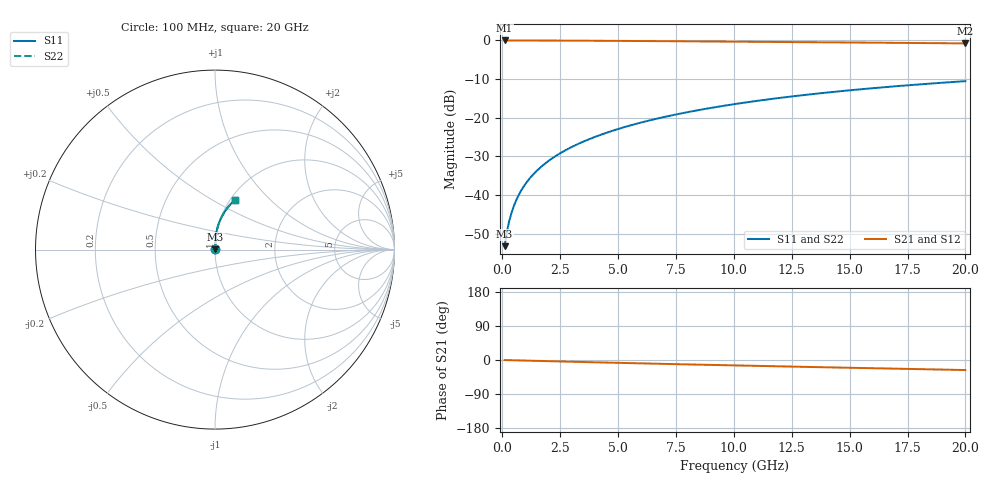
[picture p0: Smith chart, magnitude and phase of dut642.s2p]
! Touchstone file exported from HFSS 2024.1.0
!  File:  C:/UserFiles/LocalFiles/RDL_TSV_Batchsim/temp_RDL_bottom_642_1779784960.aedt
!  Generated:  04:45:09 PM May 26, 2026
!  Design:  RDL_bottom
!  Project:  temp_RDL_bottom_642_1779784960
!  Setup:  Setup1
!  Solution:  Sweep
! Variables:
!  dtsv = 10.80580581um
!  hbump = 3um
!  htsv = 51.59um
!  ldown = 324.64um
!  lrdl = 100um
!  p = 40
!  p1 = 57.57um
!  rhole = 1um
!  t = 450um
!  tdown = 3.78um
!  trdl = 3.915915916um
!  wdown = 21.25um
!  wrdl = 20um
# GHz S MA R 50.000000
! Terminal data exported
! Port[1] = RDL1_T1
! Port[2] = RDL1_T2
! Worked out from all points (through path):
!   200 points, 100 MHz to 20 GHz, reference 50 ohm
!   highest |S21| = -0.01 dB at 100 MHz (marker M1); lowest = -0.8 dB at 20 GHz (marker M2)
!   group delay of S21, straight-line fit = 3.64 ps
!   lowest |S11| = -53.2 dB at 100 MHz (marker M3), VSWR 1.00, Z = 50.2 + j0.147 ohm
!   |S11| at or under -10 dB: start of sweep to end of sweep
!   |S22| runs from -53.2 to -10.5 dB; largest |S21 - S12| = 3.9e-15
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0.1  0.002187 42.1  0.9984 -0.2  0.9984 -0.2  0.002187 42.1
! Gamma 0 0 0 0
! Port Impedance 50 0 50 0
0.2  0.003352 59.7  0.9983 -0.3  0.9983 -0.3  0.003352 59.7
0.3  0.00463 67.7  0.9982 -0.5  0.9982 -0.5  0.00463 67.7
0.4  0.005933 72.2  0.9981 -0.6  0.9981 -0.6  0.005933 72.2
0.5  0.007247 75.2  0.998 -0.8  0.998 -0.8  0.007247 75.2
0.6  0.008571 77.4  0.9979 -0.9  0.9979 -0.9  0.008571 77.4
0.8  0.01124 80.2  0.9977 -1.3  0.9977 -1.3  0.01124 80.2
1.1  0.0153 82.7  0.9973 -1.7  0.9973 -1.7  0.0153 82.7
1.5  0.02078 84.5  0.9967 -2.3  0.9967 -2.3  0.02078 84.5
1.8  0.02494 85.4  0.9962 -2.8  0.9962 -2.8  0.02494 85.4
2.1  0.02912 85.9  0.9955 -3.3  0.9955 -3.3  0.02912 85.9
2.7  0.03761 86.6  0.994 -4.2  0.994 -4.2  0.03761 86.6
3.5  0.04917 86.9  0.9916 -5.4  0.9916 -5.4  0.04917 86.9
4.2  0.0595 86.9  0.9891 -6.4  0.9891 -6.4  0.0595 86.9
5  0.07153 86.6  0.986 -7.5  0.986 -7.5  0.07153 86.6
5.9  0.08532 86.0  0.9823 -8.8  0.9823 -8.8  0.08532 86.0
6.8  0.09931 85.2  0.9784 -10.0  0.9784 -10.0  0.09931 85.2
8.4  0.1245 83.5  0.9712 -12.2  0.9712 -12.2  0.1245 83.5
10.1  0.1512 81.4  0.9635 -14.4  0.9635 -14.4  0.1513 81.4
13.4  0.2024 77.0  0.9479 -18.6  0.9479 -18.6  0.2024 77.0
16.7  0.2513 72.6  0.9317 -22.6  0.9317 -22.6  0.2513 72.6
20  0.2974 68.3  0.9147 -26.5  0.9147 -26.5  0.2974 68.3
